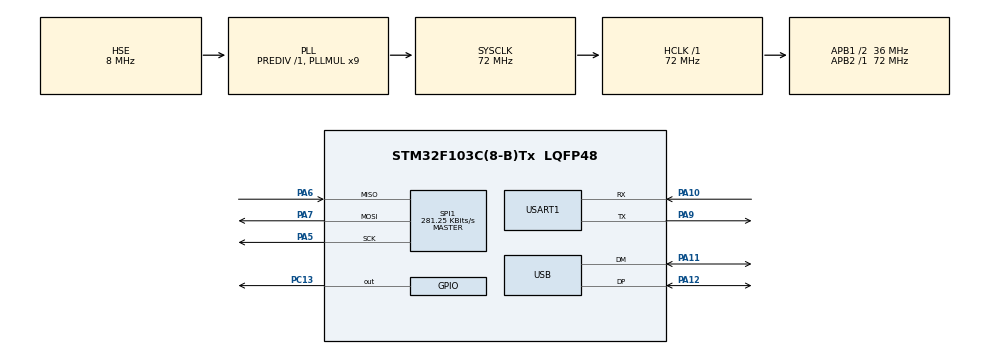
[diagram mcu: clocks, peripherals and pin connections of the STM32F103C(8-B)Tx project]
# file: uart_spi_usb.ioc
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Dma.Request0=USART1_TX
Dma.Request1=USART1_RX
Dma.Request2=SPI1_TX
Dma.Request3=SPI1_RX
Dma.SPI1_RX.3.Direction=DMA_PERIPH_TO_MEMORY
Dma.SPI1_RX.3.Instance=DMA1_Channel2
Dma.SPI1_RX.3.MemDataAlignment=DMA_MDATAALIGN_BYTE
Dma.SPI1_RX.3.MemInc=DMA_MINC_ENABLE
Dma.SPI1_RX.3.Mode=DMA_NORMAL
Dma.SPI1_RX.3.PeriphDataAlignment=DMA_PDATAALIGN_BYTE
Dma.SPI1_RX.3.PeriphInc=DMA_PINC_DISABLE
Dma.SPI1_RX.3.Priority=DMA_PRIORITY_LOW
Dma.SPI1_TX.2.Direction=DMA_MEMORY_TO_PERIPH
Dma.SPI1_TX.2.Instance=DMA1_Channel3
Dma.SPI1_TX.2.MemDataAlignment=DMA_MDATAALIGN_BYTE
Dma.SPI1_TX.2.MemInc=DMA_MINC_ENABLE
Dma.SPI1_TX.2.Mode=DMA_NORMAL
Dma.SPI1_TX.2.PeriphDataAlignment=DMA_PDATAALIGN_BYTE
Dma.SPI1_TX.2.PeriphInc=DMA_PINC_DISABLE
Dma.SPI1_TX.2.Priority=DMA_PRIORITY_LOW
Dma.USART1_RX.1.Direction=DMA_PERIPH_TO_MEMORY
Dma.USART1_RX.1.Instance=DMA1_Channel5
Dma.USART1_RX.1.MemDataAlignment=DMA_MDATAALIGN_BYTE
Dma.USART1_RX.1.MemInc=DMA_MINC_ENABLE
Dma.USART1_RX.1.Mode=DMA_NORMAL
Dma.USART1_RX.1.PeriphDataAlignment=DMA_PDATAALIGN_BYTE
Dma.USART1_RX.1.PeriphInc=DMA_PINC_DISABLE
Dma.USART1_RX.1.Priority=DMA_PRIORITY_LOW
Dma.USART1_TX.0.Direction=DMA_MEMORY_TO_PERIPH
Dma.USART1_TX.0.Instance=DMA1_Channel4
Dma.USART1_TX.0.MemDataAlignment=DMA_MDATAALIGN_BYTE
Dma.USART1_TX.0.MemInc=DMA_MINC_ENABLE
Dma.USART1_TX.0.Mode=DMA_NORMAL
Dma.USART1_TX.0.PeriphDataAlignment=DMA_PDATAALIGN_BYTE
Dma.USART1_TX.0.PeriphInc=DMA_PINC_DISABLE
Dma.USART1_TX.0.Priority=DMA_PRIORITY_LOW
Mcu.Family=STM32F1
Mcu.Name=STM32F103C(8-B)Tx
Mcu.Package=LQFP48
NVIC.DMA1_Channel2_IRQn=true\:0\:0\:false\:false\:true
NVIC.DMA1_Channel3_IRQn=true\:0\:0\:false\:false\:true
NVIC.DMA1_Channel4_IRQn=true\:0\:0\:false\:false\:true
NVIC.DMA1_Channel5_IRQn=true\:0\:0\:false\:false\:true
NVIC.PriorityGroup=NVIC_PRIORITYGROUP_4
NVIC.SPI1_IRQn=true\:0\:0\:false\:false\:true
NVIC.USART1_IRQn=true\:0\:0\:false\:false\:true
NVIC.USB_HP_CAN1_TX_IRQn=true\:0\:0\:false\:false\:true
NVIC.USB_LP_CAN1_RX0_IRQn=true\:0\:0\:false\:false\:true
PA10.Mode=Asynchronous
PA10.Signal=USART1_RX
PA11.Mode=Device
PA11.Signal=USB_DM
PA12.Mode=Device
PA12.Signal=USB_DP
PA13.Mode=Serial_Wire
PA13.Signal=SYS_JTMS-SWDIO
PA14.Mode=Serial_Wire
PA14.Signal=SYS_JTCK-SWCLK
PA5.Mode=Full_Duplex_Master
PA5.Signal=SPI1_SCK
PA6.Mode=Full_Duplex_Master
PA6.Signal=SPI1_MISO
PA7.Mode=Full_Duplex_Master
PA7.Signal=SPI1_MOSI
PA9.Mode=Asynchronous
PA9.Signal=USART1_TX
PC13-TAMPER-RTC.Signal=GPIO_Output
PD0-OSC_IN.Mode=HSE-External-Oscillator
PD0-OSC_IN.Signal=RCC_OSC_IN
PD1-OSC_OUT.Mode=HSE-External-Oscillator
PD1-OSC_OUT.Signal=RCC_OSC_OUT
ProjectManager.HeapSize=0x200
ProjectManager.StackSize=0x400
ProjectManager.TargetToolchain=Makefile
RCC.AHBFreq_Value=72000000
RCC.APB1CLKDivider=RCC_HCLK_DIV2
RCC.APB1Freq_Value=36000000
RCC.APB1TimFreq_Value=72000000
RCC.APB2Freq_Value=72000000
RCC.APB2TimFreq_Value=72000000
RCC.HCLKFreq_Value=72000000
RCC.PLLMUL=RCC_PLL_MUL9
RCC.PLLSourceVirtual=RCC_PLLSOURCE_HSE
RCC.SYSCLKFreq_VALUE=72000000
RCC.SYSCLKSource=RCC_SYSCLKSOURCE_PLLCLK
RCC.USBFreq_Value=48000000
RCC.USBPrescaler=RCC_USBCLKSOURCE_PLL_DIV1_5
SPI1.BaudRatePrescaler=SPI_BAUDRATEPRESCALER_256
SPI1.CalculateBaudRate=281.25 KBits/s
SPI1.Direction=SPI_DIRECTION_2LINES
SPI1.Mode=SPI_MODE_MASTER
SPI1.VirtualType=VM_MASTER
USART1.VirtualMode=VM_ASYNC
USB_DEVICE.CLASS_NAME_FS=CDC
USB_DEVICE.VirtualMode=Cdc
USB_DEVICE.VirtualModeFS=Cdc_FS
VP_USB_DEVICE_VS_USB_DEVICE_CDC_FS.Mode=CDC_FS
board=uart_spi_usb

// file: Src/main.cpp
/**
  ******************************************************************************
  * File Name          : main.c
  * Description        : Main program body
  ******************************************************************************
  * This notice applies to any and all portions of this file
  * that are not between comment pairs USER CODE BEGIN and
  * USER CODE END. Other portions of this file, whether
  * inserted by the user or by software development tools
  * are owned by their respective copyright owners.
  *
  * Copyright (c) 2017 STMicroelectronics International N.V.
  * All rights reserved.
  *
  * Redistribution and use in source and binary forms, with or without
  * modification, are permitted, provided that the following conditions are met:
  *
  * 1. Redistribution of source code must retain the above copyright notice,
  *    this list of conditions and the following disclaimer.
  * 2. Redistributions in binary form must reproduce the above copyright notice,
  *    this list of conditions and the following disclaimer in the documentation
  *    and/or other materials provided with the distribution.
  * 3. Neither the name of STMicroelectronics nor the names of other
  *    contributors to this software may be used to endorse or promote products
  *    derived from this software without specific written permission.
  * 4. This software, including modifications and/or derivative works of this
  *    software, must execute solely and exclusively on microcontroller or
  *    microprocessor devices manufactured by or for STMicroelectronics.
  * 5. Redistribution and use of this software other than as permitted under
  *    this license is void and will automatically terminate your rights under
  *    this license.
  *
  * THIS SOFTWARE IS PROVIDED BY STMICROELECTRONICS AND CONTRIBUTORS "AS IS"
  * AND ANY EXPRESS, IMPLIED OR STATUTORY WARRANTIES, INCLUDING, BUT NOT
  * LIMITED TO, THE IMPLIED WARRANTIES OF MERCHANTABILITY, FITNESS FOR A
  * PARTICULAR PURPOSE AND NON-INFRINGEMENT OF THIRD PARTY INTELLECTUAL PROPERTY
  * RIGHTS ARE DISCLAIMED TO THE FULLEST EXTENT PERMITTED BY LAW. IN NO EVENT
  * SHALL STMICROELECTRONICS OR CONTRIBUTORS BE LIABLE FOR ANY DIRECT, INDIRECT,
  * INCIDENTAL, SPECIAL, EXEMPLARY, OR CONSEQUENTIAL DAMAGES (INCLUDING, BUT NOT
  * LIMITED TO, PROCUREMENT OF SUBSTITUTE GOODS OR SERVICES; LOSS OF USE, DATA,
  * OR PROFITS; OR BUSINESS INTERRUPTION) HOWEVER CAUSED AND ON ANY THEORY OF
  * LIABILITY, WHETHER IN CONTRACT, STRICT LIABILITY, OR TORT (INCLUDING
  * NEGLIGENCE OR OTHERWISE) ARISING IN ANY WAY OUT OF THE USE OF THIS SOFTWARE,
  * EVEN IF ADVISED OF THE POSSIBILITY OF SUCH DAMAGE.
  *
  ******************************************************************************
  */
#include "main.h"
#include "stm32f1xx_hal.h"
#include "dma.h"
#include "spi.h"
#include "usart.h"
#include "usb_device.h"
#include "gpio.h"

#include <sstream>

/* USER CODE BEGIN Includes */
#include "usbd_cdc_if.h"
/* USER CODE END Includes */

/* USER CODE BEGIN PV */
/* Private variables ---------------------------------------------------------*/

/* USER CODE END PV */

void SystemClock_Config(void);

/* USER CODE BEGIN PFP */
/* Private function prototypes -----------------------------------------------*/

/* USER CODE END PFP */

/* USER CODE BEGIN 0 */
void delayLoop() {
        volatile uint32_t delayCount = 100000; // volatile, um "Wegoptimieren" zu vermeinden
                                               //(http://en.wikipedia.org/wiki/Volatile_variable)
        while (delayCount > 0) {
                delayCount--;
        }
}

void HAL_UART_TxCpltCallback(UART_HandleTypeDef *huart)
{
  HAL_UART_StateTypeDef state = HAL_UART_GetState(huart);
  if (state == HAL_UART_STATE_READY) {

  } else {

  }
}

void HAL_SPI_TxCpltCallback(SPI_HandleTypeDef *hspi)
{
  HAL_SPI_StateTypeDef state = HAL_SPI_GetState(hspi);
  if (state == HAL_SPI_STATE_READY) {

  } else {

  }

}

/* USER CODE END 0 */

int main(void)
{

  /* MCU Configuration----------------------------------------------------------*/

  /* Reset of all peripherals, Initializes the Flash interface and the Systick. */
  HAL_Init();

  /* Configure the system clock */
  SystemClock_Config();

  /* Initialize all configured peripherals */
  MX_GPIO_Init();
  MX_DMA_Init();
  MX_USART1_UART_Init();
  MX_SPI1_Init();
  MX_USB_DEVICE_Init();

  /* USER CODE BEGIN 2 */
  uint8_t themessage[] = "E.T. is phoning home. Anyone there? Be sure to check spi and usb\n";
  uint8_t theothermessage[] = "Hey. I hate to interrupt, but...\n";
  uint8_t spimessage[] = "This is a secret side message over spi\n";
  uint8_t usbmessage[] = "    this is a usb message\n";

  /* USER CODE END 2 */

  /* Infinite loop */
  /* USER CODE BEGIN WHILE */
  uint8_t uart_poll = 1;
  uint8_t spi_poll = 1;
  uint8_t usb_cnt = 0;

  uint8_t initialmsg[] = "Stuff I heard from USB: ";
  memcpy(read_data, initialmsg, sizeof(initialmsg));
  read_idx = sizeof(initialmsg);
  while (1)
  {
  /* USER CODE END WHILE */

  /* USER CODE BEGIN 3 */
    HAL_UART_StateTypeDef state = HAL_UART_GetState(&huart1);
    if (state == HAL_UART_STATE_READY) {
      HAL_StatusTypeDef tstate __attribute__ ((unused));
      if (uart_poll) {
        tstate = HAL_UART_Transmit(&huart1, themessage, sizeof(themessage), HAL_MAX_DELAY);

        // concurrency issue here. USB may interrup and get more data.
        tstate = HAL_UART_Transmit(&huart1, read_data, read_idx, HAL_MAX_DELAY);
      } else {
        tstate = HAL_UART_Transmit_IT(&huart1, theothermessage, sizeof(theothermessage));
      }
      uart_poll = !uart_poll;
      state = HAL_UART_GetState(&huart1);
    }

    HAL_SPI_StateTypeDef spistate =  HAL_SPI_GetState (&hspi1);
    if (spistate == HAL_SPI_STATE_READY) {
      HAL_StatusTypeDef hstatus __attribute__ ((unused));
      if (spi_poll) {
        hstatus = HAL_SPI_Transmit (&hspi1, spimessage, sizeof(spimessage), HAL_MAX_DELAY);
      }
      spi_poll = !spi_poll;
      spistate =  HAL_SPI_GetState (&hspi1);
    }

    // before this: -rwxrwxr-x 1 mmccoo mmccoo  24K Jun 30 12:59 uart_spi_usb.bin
    //std::stringstream ss;
    //ss << usbmessage;
    //ss << " ";
    //ss << usb_cnt++;
    //std::string str = ss.str();
    usbmessage[2] = (usb_cnt%10) + '0';
    usbmessage[1] = ((usb_cnt/10)%10) + '0';
    usbmessage[0] = ((usb_cnt/100)%10) + '0';
    usb_cnt++;
    CDC_Transmit_FS(usbmessage, sizeof(usbmessage));

    GPIOC->ODR |= GPIO_PIN_13;
    delayLoop();
    delayLoop();
    GPIOC->ODR &= ~(GPIO_PIN_13);
    delayLoop();
  }
  /* USER CODE END 3 */

}

/** System Clock Configuration
*/
void SystemClock_Config(void)
{

  RCC_OscInitTypeDef RCC_OscInitStruct;
  RCC_ClkInitTypeDef RCC_ClkInitStruct;
  RCC_PeriphCLKInitTypeDef PeriphClkInit;

    /**Initializes the CPU, AHB and APB busses clocks
    */
  RCC_OscInitStruct.OscillatorType = RCC_OSCILLATORTYPE_HSE;
  RCC_OscInitStruct.HSEState = RCC_HSE_ON;
  RCC_OscInitStruct.HSEPredivValue = RCC_HSE_PREDIV_DIV1;
  RCC_OscInitStruct.HSIState = RCC_HSI_ON;
  RCC_OscInitStruct.PLL.PLLState = RCC_PLL_ON;
  RCC_OscInitStruct.PLL.PLLSource = RCC_PLLSOURCE_HSE;
  RCC_OscInitStruct.PLL.PLLMUL = RCC_PLL_MUL9;
  if (HAL_RCC_OscConfig(&RCC_OscInitStruct) != HAL_OK)
  {
#pragma GCC diagnostic ignored "-Wwrite-strings"
    _Error_Handler(__FILE__, __LINE__);
  }

    /**Initializes the CPU, AHB and APB busses clocks
    */
  RCC_ClkInitStruct.ClockType = RCC_CLOCKTYPE_HCLK|RCC_CLOCKTYPE_SYSCLK
                              |RCC_CLOCKTYPE_PCLK1|RCC_CLOCKTYPE_PCLK2;
  RCC_ClkInitStruct.SYSCLKSource = RCC_SYSCLKSOURCE_PLLCLK;
  RCC_ClkInitStruct.AHBCLKDivider = RCC_SYSCLK_DIV1;
  RCC_ClkInitStruct.APB1CLKDivider = RCC_HCLK_DIV2;
  RCC_ClkInitStruct.APB2CLKDivider = RCC_HCLK_DIV1;

  if (HAL_RCC_ClockConfig(&RCC_ClkInitStruct, FLASH_LATENCY_2) != HAL_OK)
  {
    _Error_Handler(__FILE__, __LINE__);
  }

  PeriphClkInit.PeriphClockSelection = RCC_PERIPHCLK_USB;
  PeriphClkInit.UsbClockSelection = RCC_USBCLKSOURCE_PLL_DIV1_5;
  if (HAL_RCCEx_PeriphCLKConfig(&PeriphClkInit) != HAL_OK)
  {
    _Error_Handler(__FILE__, __LINE__);
  }

    /**Configure the Systick interrupt time
    */
  HAL_SYSTICK_Config(HAL_RCC_GetHCLKFreq()/1000);

    /**Configure the Systick
    */
  HAL_SYSTICK_CLKSourceConfig(SYSTICK_CLKSOURCE_HCLK);

  /* SysTick_IRQn interrupt configuration */
  HAL_NVIC_SetPriority(SysTick_IRQn, 0, 0);
}

void _Error_Handler(char * file, int line)
{
  while(1)
  {
  }
}

/************************ (C) COPYRIGHT STMicroelectronics *****END OF FILE****/
